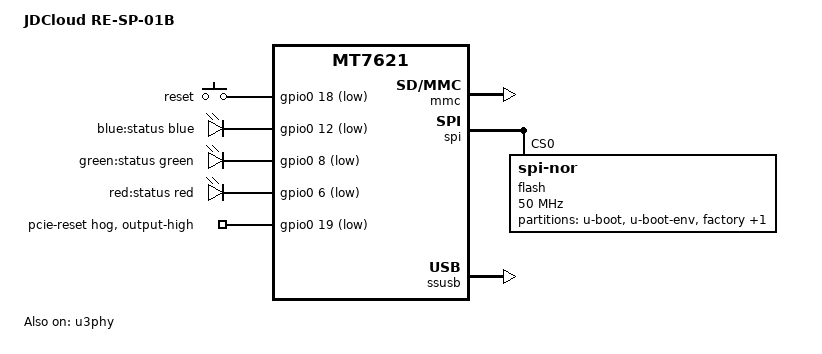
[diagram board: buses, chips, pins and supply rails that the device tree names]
// SPDX-License-Identifier: GPL-2.0-or-later

/dts-v1/;

#include "mt7621.dtsi"

#include <dt-bindings/gpio/gpio.h>
#include <dt-bindings/input/input.h>
#include <dt-bindings/leds/common.h>

/ {
	compatible = "jdcloud,re-sp-01b", "mediatek,mt7621-soc";
	model = "JDCloud RE-SP-01B";

	aliases {
		button-boot1 = &key_reset;
		led-status1 = &led_green;
		led-status2 = &led_red;
		serial0 = &uart0;
		spi0 = &spi;
	};

	chosen {
		stdout-path = &uart0;
	};

	config {
		button-reset-env;
	};

	gpio-keys {
		compatible = "gpio-keys";

		key_reset: reset {
			label = "reset";
			gpios = <&gpio0 18 GPIO_ACTIVE_LOW>;
			linux,code = <KEY_RESTART>;
		};
	};

	gpio-leds {
		compatible = "gpio-leds";

		led-blue {
			label = "blue:status";
			color = <LED_COLOR_ID_BLUE>;
			function = LED_FUNCTION_STATUS;
			gpios = <&gpio0 12 GPIO_ACTIVE_LOW>;
			default-state = "off";
		};

		led_green: led-green {
			label = "green:status";
			color = <LED_COLOR_ID_GREEN>;
			function = LED_FUNCTION_STATUS;
			gpios = <&gpio0 8 GPIO_ACTIVE_LOW>;
			default-state = "on";
		};

		led_red: led-red {
			label = "red:status";
			color = <LED_COLOR_ID_RED>;
			function = LED_FUNCTION_STATUS;
			gpios = <&gpio0 6 GPIO_ACTIVE_LOW>;
			default-state = "off";
		};
	};
};

&gpio0 {
	pcie-reset {
		gpio-hog;
		gpios = <19 GPIO_ACTIVE_LOW>;
		output-high;
	};
};

&mmc {
	status = "okay";

	cap-sd-highspeed;
};

&spi {
	status = "okay";

	flash@0 {
		compatible = "jedec,spi-nor";
		reg = <0>;
		spi-max-frequency = <50000000>;

		partitions {
			compatible = "fixed-partitions";
			#address-cells = <1>;
			#size-cells = <1>;

			partition@0 {
				label = "u-boot";
				reg = <0x0000000 0x0030000>;
			};

			partition@30000 {
				label = "u-boot-env";
				reg = <0x0030000 0x0010000>;
			};

			partition@40000 {
				label = "factory";
				reg = <0x0040000 0x0010000>;
			};

			partition@50000 {
				label = "firmware";
				reg = <0x0050000 0x1fb0000>;
			};
		};
	};
};

&ssusb {
	status = "okay";
};

&state_default {
	/delete-node/ rgmii2-gpio_pins;
	/delete-node/ spi-nand_pins;
	/delete-node/ sdxc-nand_pins;
	/delete-node/ sdxc-gpio_pins;

	sdxc_pins {
		groups = "sdxc";
		function = "sdxc";
		bias-pull-up;
		input-schmitt-disable;
		drive-strength = <6>;
		slew-rate = <0>;
	};
};

&u3phy {
	status = "okay";
};
